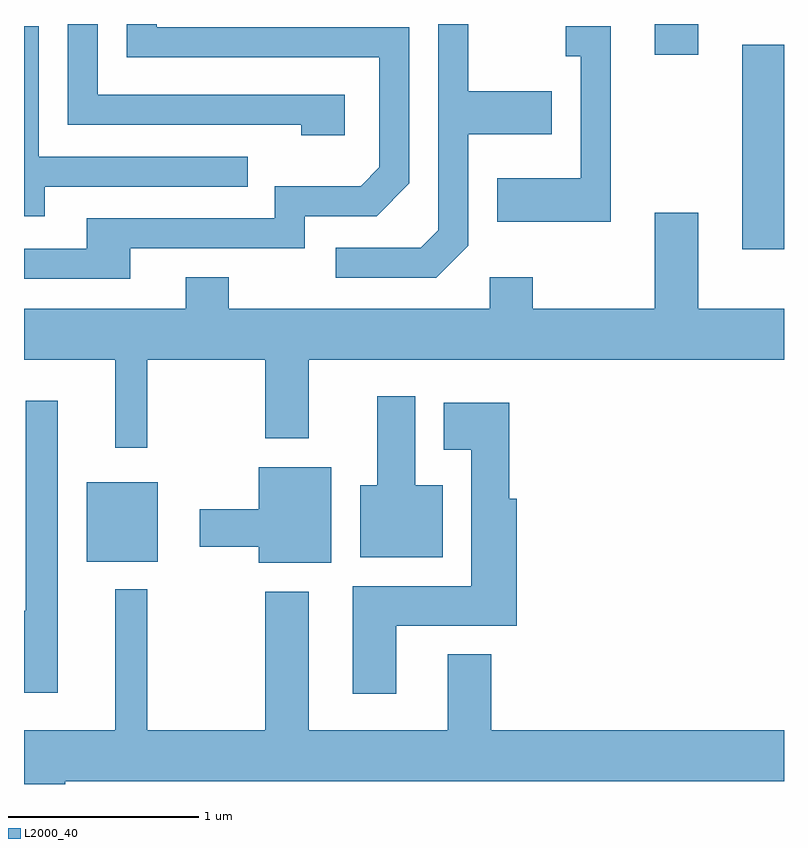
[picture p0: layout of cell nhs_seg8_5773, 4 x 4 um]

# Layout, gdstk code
import gdstk
lib = gdstk.Library(unit=1e-6, precision=1e-09)
def R(c, l, rs):  # rectangles x0, y0, x1, y1
    for r in rs: c.add(gdstk.rectangle(r[:2], r[2:], *l))
def P(c, l, *ps):  # polygons
    for p in ps: c.add(gdstk.Polygon(p, *l))
L2000_40 = (2000, 40)

nhs_seg8_5773 = lib.new_cell('nhs_seg8_5773')
R(nhs_seg8_5773, L2000_40, [(357.941,1897.511,358.314,1897.929), (361.391,1899.156,361.611,1900.234), (360.931,1900.181,361.159,1900.342)])
P(nhs_seg8_5773, L2000_40, [(358.169,1899.161),(359.089,1899.161),(359.089,1899.331),(359.467,1899.331),(359.639,1899.504),(359.639,1900.324),(358.309,1900.324),(358.309,1900.342),(358.151,1900.342),(358.151,1900.166),(359.481,1900.166),(359.481,1899.587),(359.384,1899.489),(358.931,1899.489),(358.931,1899.319),(357.941,1899.319),(357.941,1899.159),(357.611,1899.159),(357.611,1899.001),(358.169,1899.001)],
  [(359.299,1899.969),(357.999,1899.969),(357.999,1900.342),(357.841,1900.342),(357.841,1899.811),(359.071,1899.811),(359.071,1899.756),(359.299,1899.756)],
  [(359.949,1899.174),(359.949,1899.761),(360.389,1899.761),(360.389,1899.989),(359.949,1899.989),(359.949,1900.342),(359.791,1900.342),(359.791,1899.257),(359.699,1899.164),(359.253,1899.164),(359.253,1899.006),(359.782,1899.006)],
  [(357.719,1899.486),(358.788,1899.486),(358.788,1899.644),(357.689,1899.644),(357.689,1900.329),(357.611,1900.329),(357.611,1899.331),(357.719,1899.331)],
  [(360.699,1900.329),(360.463,1900.329),(360.463,1900.171),(360.541,1900.171),(360.541,1899.529),(360.101,1899.529),(360.101,1899.301),(360.699,1899.301)],
  [(358.259,1898.576),(358.881,1898.576),(358.881,1898.161),(359.109,1898.161),(359.109,1898.576),(361.611,1898.576),(361.611,1898.844),(361.159,1898.844),(361.159,1899.349),(360.931,1899.349),(360.931,1898.844),(360.289,1898.844),(360.289,1899.009),(360.061,1899.009),(360.061,1898.844),(358.689,1898.844),(358.689,1899.009),(358.461,1899.009),(358.461,1898.844),(357.611,1898.844),(357.611,1898.576),(358.091,1898.576),(358.091,1898.113),(358.259,1898.113)],
  [(359.814,1897.914),(359.669,1897.914),(359.669,1898.384),(359.471,1898.384),(359.471,1897.914),(359.381,1897.914),(359.381,1897.536),(359.814,1897.536)],
  [(357.789,1898.358),(357.621,1898.358),(357.621,1897.254),(357.611,1897.254),(357.611,1896.821),(357.789,1896.821)],
  [(359.569,1897.176),(360.204,1897.176),(360.204,1897.844),(360.164,1897.844),(360.164,1898.349),(359.821,1898.349),(359.821,1898.101),(359.966,1898.101),(359.966,1897.384),(359.341,1897.384),(359.341,1896.816),(359.569,1896.816)],
  [(359.229,1898.009),(358.846,1898.009),(358.846,1897.789),(358.536,1897.789),(358.536,1897.591),(358.846,1897.591),(358.846,1897.506),(359.229,1897.506)],
  [(357.829,1896.356),(361.611,1896.356),(361.611,1896.624),(360.069,1896.624),(360.069,1897.024),(359.841,1897.024),(359.841,1896.624),(359.109,1896.624),(359.109,1897.354),(358.881,1897.354),(358.881,1896.624),(358.259,1896.624),(358.259,1897.368),(358.091,1897.368),(358.091,1896.624),(357.611,1896.624),(357.611,1896.342),(357.829,1896.342)])

lib.write_gds('nhs_seg8_5773.gds')
